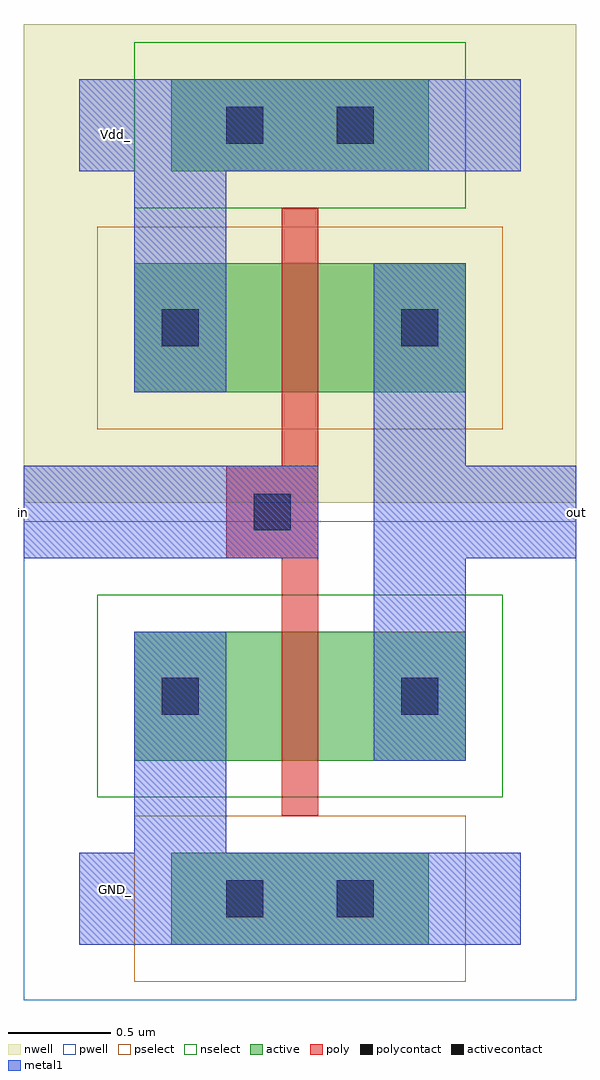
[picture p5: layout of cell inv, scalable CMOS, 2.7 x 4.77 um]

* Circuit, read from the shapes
.subckt inv GND_ Vdd_ in out
M1 out in GND_ GND_ nfet w=0.63u l=0.18u
M2 out in Vdd_ Vdd_ pfet w=0.63u l=0.18u
.ends

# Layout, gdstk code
import gdstk
lib = gdstk.Library(unit=1e-6, precision=1e-09)
def R(c, l, rs):  # rectangles x0, y0, x1, y1
    for r in rs: c.add(gdstk.rectangle(r[:2], r[2:], *l))
pwell = (41, 0)
nwell = (42, 0)
active = (43, 0)
pselect = (44, 0)
nselect = (45, 0)
poly = (46, 0)
polycontact = (47, 0)
activecontact = (48, 0)
metal1 = (49, 0)

inv = lib.new_cell('inv')
R(inv, pwell, [(-0.9,-1.17,1.8,1.17)])
R(inv, nwell, [(-0.9,1.26,1.8,3.6)])
R(inv, active, [(-0.18,-0.9,1.08,-0.45), (-0.36,0,1.26,0.63), (-0.36,1.8,1.26,2.43), (-0.18,2.88,1.08,3.33)])
R(inv, pselect, [(-0.36,-1.08,1.26,-0.27), (-0.54,1.62,1.44,2.61)])
R(inv, nselect, [(-0.54,-0.18,1.44,0.81), (-0.36,2.7,1.26,3.51)])
R(inv, poly, [(0.36,-0.27,0.54,0.99), (0.09,0.99,0.54,1.44), (0.36,1.44,0.54,2.7)])
R(inv, polycontact, [(0.225,1.125,0.405,1.305)])
R(inv, activecontact, [(0.09,-0.765,0.27,-0.585), (0.63,-0.765,0.81,-0.585), (-0.225,0.225,-0.045,0.405), (0.945,0.225,1.125,0.405), (-0.225,2.025,-0.045,2.205), (0.945,2.025,1.125,2.205), (0.09,3.015,0.27,3.195), (0.63,3.015,0.81,3.195)])
R(inv, metal1, [(-0.63,-0.9,1.53,-0.45), (-0.36,-0.45,0.09,0.63), (0.81,0,1.26,0.99), (-0.9,0.99,0.54,1.44), (0.81,0.99,1.8,1.44), (0.81,1.44,1.26,2.43), (-0.36,1.8,0.09,2.88), (-0.63,2.88,1.53,3.33)])
inv.add(gdstk.Label('in', (-0.9,1.215), layer=49, texttype=0))
inv.add(gdstk.Label('out', (1.8,1.215), layer=49, texttype=0))
inv.add(gdstk.Label('Vdd_', (-0.45,3.06), layer=49, texttype=0))
inv.add(gdstk.Label('GND_', (-0.45,-0.63), layer=49, texttype=0))

lib.write_gds('inv.gds')
